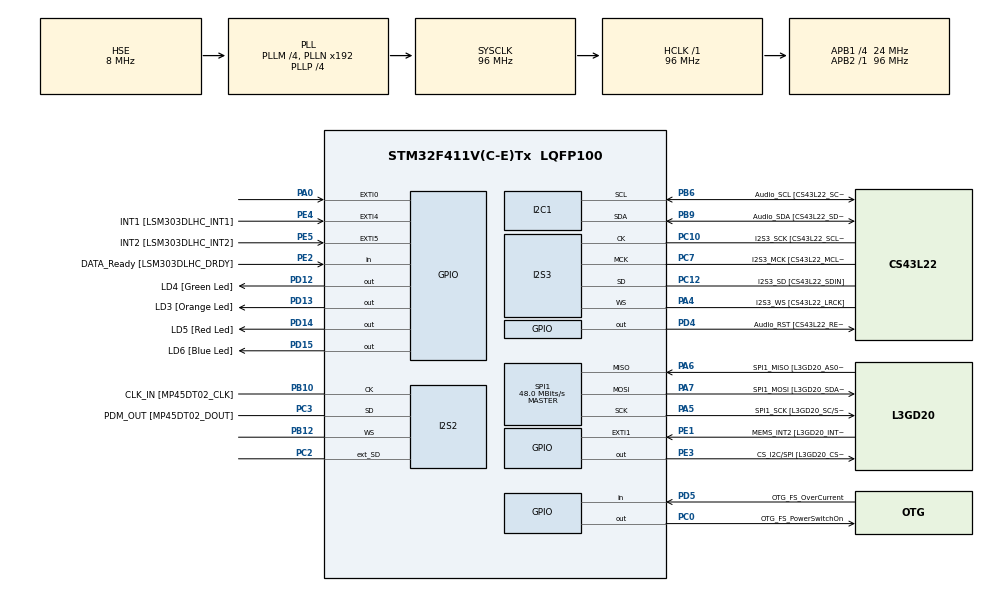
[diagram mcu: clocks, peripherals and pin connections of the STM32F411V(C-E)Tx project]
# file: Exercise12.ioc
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FREERTOS.Mutexes01=CriticalResourceMutex,Dynamic,NULL
FREERTOS.Tasks01=GreenLEDTask,0,128,StartGreenLEDTask,Default,NULL,Dynamic,NULL,NULL;RedLEDTask,2,128,StartRedLEDTask,Default,NULL,Dynamic,NULL,NULL;OrangeLEDTask,1,128,StartOrangeLEDTask,Default,NULL,Dynamic,NULL,NULL
I2S2.AudioFreq=I2S_AUDIOFREQ_96K
I2S2.ErrorAudioFreq=0.15 %
I2S2.FullDuplexMode=I2S_FULLDUPLEXMODE_ENABLE
I2S2.Instance=SPI$Index
I2S2.RealAudioFreq=96.153 KHz
I2S2.VirtualMode=I2S_MODE_MASTER
I2S3.AudioFreq=I2S_AUDIOFREQ_96K
I2S3.ErrorAudioFreq=-6.99 %
I2S3.FullDuplexMode=I2S_FULLDUPLEXMODE_DISABLE
I2S3.Instance=SPI$Index
I2S3.RealAudioFreq=89.285 KHz
I2S3.VirtualMode=I2S_MODE_MASTER
Mcu.Family=STM32F4
Mcu.Name=STM32F411V(C-E)Tx
Mcu.Package=LQFP100
NVIC.PriorityGroup=NVIC_PRIORITYGROUP_4
NVIC.TIM1_UP_TIM10_IRQn=true\:0\:0\:false\:false\:true\:false\:false\:true
NVIC.TimeBase=TIM1_UP_TIM10_IRQn
NVIC.TimeBaseIP=TIM1
PA0-WKUP.GPIO_ModeDefaultEXTI=GPIO_MODE_EVT_RISING
PA0-WKUP.Signal=GPXTI0
PA10.GPIO_Label=OTG_FS_ID
PA10.Signal=USB_OTG_FS_ID
PA11.GPIO_Label=OTG_FS_DM
PA11.Signal=USB_OTG_FS_DM
PA12.GPIO_Label=OTG_FS_DP
PA12.Signal=USB_OTG_FS_DP
PA13.GPIO_Label=SWDIO
PA13.Mode=Serial_Wire
PA13.Signal=SYS_JTMS-SWDIO
PA14.GPIO_Label=SWCLK
PA14.Mode=Serial_Wire
PA14.Signal=SYS_JTCK-SWCLK
PA4.GPIO_Label=I2S3_WS [CS43L22_LRCK]
PA4.GPIO_Mode=GPIO_MODE_AF_PP
PA4.GPIO_PuPd=GPIO_NOPULL
PA4.GPIO_Speed=GPIO_SPEED_FREQ_LOW
PA4.Mode=Half_Duplex_Master
PA4.Signal=I2S3_WS
PA5.GPIO_Label=SPI1_SCK [L3GD20_SC/SPC]
PA5.Mode=Full_Duplex_Master
PA5.Signal=SPI1_SCK
PA6.GPIO_Label=SPI1_MISO [L3GD20_AS0/SDO]
PA6.Mode=Full_Duplex_Master
PA6.Signal=SPI1_MISO
PA7.GPIO_Label=SPI1_MOSI [L3GD20_SDA/SDI/SDO]
PA7.Mode=Full_Duplex_Master
PA7.Signal=SPI1_MOSI
PA9.GPIO_Label=VBUS_FS
PA9.Signal=USB_OTG_FS_VBUS
PB10.GPIO_Label=CLK_IN [MP45DT02_CLK]
PB10.Mode=Full_Duplex_Master
PB10.Signal=I2S2_CK
PB12.Mode=Full_Duplex_Master
PB12.Signal=I2S2_WS
PB3.GPIO_Label=SWO
PB3.Signal=SYS_JTDO-SWO
PB6.GPIO_Label=Audio_SCL [CS43L22_SCL]
PB6.GPIO_Mode=GPIO_MODE_AF_OD
PB6.GPIO_PuPd=GPIO_NOPULL
PB6.GPIO_Speed=GPIO_SPEED_FREQ_LOW
PB6.Mode=I2C
PB6.Signal=I2C1_SCL
PB9.GPIO_Label=Audio_SDA [CS43L22_SDA]
PB9.GPIO_Mode=GPIO_MODE_AF_OD
PB9.GPIO_PuPd=GPIO_NOPULL
PB9.GPIO_Speed=GPIO_SPEED_FREQ_LOW
PB9.Mode=I2C
PB9.Signal=I2C1_SDA
PC0.GPIO_Label=OTG_FS_PowerSwitchOn
PC0.PinState=GPIO_PIN_SET
PC0.Signal=GPIO_Output
PC10.GPIO_Label=I2S3_SCK [CS43L22_SCLK]
PC10.GPIO_Mode=GPIO_MODE_AF_PP
PC10.GPIO_PuPd=GPIO_NOPULL
PC10.GPIO_Speed=GPIO_SPEED_FREQ_LOW
PC10.Mode=Half_Duplex_Master
PC10.Signal=I2S3_CK
PC12.GPIO_Label=I2S3_SD [CS43L22_SDIN]
PC12.GPIO_Mode=GPIO_MODE_AF_PP
PC12.GPIO_PuPd=GPIO_NOPULL
PC12.GPIO_Speed=GPIO_SPEED_FREQ_LOW
PC12.Mode=Half_Duplex_Master
PC12.Signal=I2S3_SD
PC14-OSC32_IN.GPIO_Label=PC14-OSC32_IN
PC14-OSC32_IN.Mode=LSE-External-Oscillator
PC14-OSC32_IN.Signal=RCC_OSC32_IN
PC15-OSC32_OUT.GPIO_Label=PC15-OSC32_OUT
PC15-OSC32_OUT.Mode=LSE-External-Oscillator
PC15-OSC32_OUT.Signal=RCC_OSC32_OUT
PC2.Mode=Full_Duplex_Master
PC2.Signal=I2S2_ext_SD
PC3.GPIO_Label=PDM_OUT [MP45DT02_DOUT]
PC3.Mode=Full_Duplex_Master
PC3.Signal=I2S2_SD
PC7.GPIO_Label=I2S3_MCK [CS43L22_MCLK]
PC7.GPIO_Mode=GPIO_MODE_AF_PP
PC7.GPIO_PuPd=GPIO_NOPULL
PC7.GPIO_Speed=GPIO_SPEED_FREQ_LOW
PC7.Mode=Master_Clock_Activated
PC7.Signal=I2S3_MCK
PD12.GPIO_Label=LD4 [Green Led]
PD12.GPIO_PuPd=GPIO_NOPULL
PD12.GPIO_Speed=GPIO_SPEED_FREQ_LOW
PD12.Signal=GPIO_Output
PD13.GPIO_Label=LD3 [Orange Led]
PD13.GPIO_PuPd=GPIO_NOPULL
PD13.GPIO_Speed=GPIO_SPEED_FREQ_LOW
PD13.Signal=GPIO_Output
PD14.GPIO_Label=LD5 [Red Led]
PD14.GPIO_PuPd=GPIO_NOPULL
PD14.GPIO_Speed=GPIO_SPEED_FREQ_LOW
PD14.Signal=GPIO_Output
PD15.GPIO_Label=LD6 [Blue Led]
PD15.GPIO_PuPd=GPIO_NOPULL
PD15.GPIO_Speed=GPIO_SPEED_FREQ_LOW
PD15.Signal=GPIO_Output
PD4.GPIO_Label=Audio_RST [CS43L22_RESET]
PD4.Signal=GPIO_Output
PD5.GPIO_Label=OTG_FS_OverCurrent
PD5.Signal=GPIO_Input
PE1.GPIO_Label=MEMS_INT2 [L3GD20_INT2]
PE1.GPIO_ModeDefaultEXTI=GPIO_MODE_EVT_RISING
PE1.Signal=GPXTI1
PE2.GPIO_Label=DATA_Ready [LSM303DLHC_DRDY]
PE2.Signal=GPIO_Input
PE3.GPIO_Label=CS_I2C/SPI [L3GD20_CS_I2C/SPI]
PE3.Signal=GPIO_Output
PE4.GPIO_Label=INT1 [LSM303DLHC_INT1]
PE4.GPIO_ModeDefaultEXTI=GPIO_MODE_EVT_RISING
PE4.Signal=GPXTI4
PE5.GPIO_Label=INT2 [LSM303DLHC_INT2]
PE5.GPIO_ModeDefaultEXTI=GPIO_MODE_EVT_RISING
PE5.Signal=GPXTI5
PH0\ -\ OSC_IN.GPIO_Label=PH0-OSC_IN
PH0\ -\ OSC_IN.Mode=HSE-External-Oscillator
PH0\ -\ OSC_IN.Signal=RCC_OSC_IN
PH1\ -\ OSC_OUT.GPIO_Label=PH1-OSC_OUT
PH1\ -\ OSC_OUT.Mode=HSE-External-Oscillator
PH1\ -\ OSC_OUT.Signal=RCC_OSC_OUT
ProjectManager.HeapSize=0x200
ProjectManager.StackSize=0x400
ProjectManager.TargetToolchain=STM32CubeIDE
RCC.48MHZClocksFreq_Value=48000000
RCC.AHBFreq_Value=96000000
RCC.APB1CLKDivider=RCC_HCLK_DIV4
RCC.APB1Freq_Value=24000000
RCC.APB1TimFreq_Value=48000000
RCC.APB2Freq_Value=96000000
RCC.APB2TimFreq_Value=96000000
RCC.CortexFreq_Value=96000000
RCC.HCLKFreq_Value=96000000
RCC.HSE_VALUE=8000000
RCC.HSI_VALUE=16000000
RCC.PLLI2SM=5
RCC.PLLI2SN=200
RCC.PLLM=4
RCC.PLLP=RCC_PLLP_DIV4
RCC.PLLQ=8
RCC.PLLSourceVirtual=RCC_PLLSOURCE_HSE
RCC.SYSCLKFreq_VALUE=96000000
RCC.SYSCLKSource=RCC_SYSCLKSOURCE_PLLCLK
RCC.VCOOutputFreq_Value=384000000
SPI1.BaudRatePrescaler=SPI_BAUDRATEPRESCALER_2
SPI1.CalculateBaudRate=48.0 MBits/s
SPI1.Direction=SPI_DIRECTION_2LINES
SPI1.Mode=SPI_MODE_MASTER
SPI1.VirtualType=VM_MASTER
VP_FREERTOS_VS_CMSIS_V1.Mode=CMSIS_V1
VP_SYS_VS_tim1.Mode=TIM1
board=STM32F411E-DISCO

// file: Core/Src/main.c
/* USER CODE BEGIN Header */
/**
  ******************************************************************************
  * @file           : main.c
  * @brief          : Main program body
  ******************************************************************************
  * @attention
  *
  * <h2><center>&copy; Copyright (c) 2024 STMicroelectronics.
  * All rights reserved.</center></h2>
  *
  * This software component is licensed by ST under Ultimate Liberty license
  * SLA0044, the "License"; You may not use this file except in compliance with
  * the License. You may obtain a copy of the License at:
  *                             www.st.com/SLA0044
  *
  ******************************************************************************
  */
/* USER CODE END Header */

#include "main.h"
#include "cmsis_os.h"

I2C_HandleTypeDef hi2c1;

I2S_HandleTypeDef hi2s2;
I2S_HandleTypeDef hi2s3;

SPI_HandleTypeDef hspi1;

osThreadId GreenLEDTaskHandle;
osThreadId RedLEDTaskHandle;
osThreadId OrangeLEDTaskHandle;
osMutexId CriticalResourceMutexHandle;

void SystemClock_Config(void);
static void MX_GPIO_Init(void);
static void MX_I2C1_Init(void);
static void MX_I2S2_Init(void);
static void MX_I2S3_Init(void);
static void MX_SPI1_Init(void);
void StartGreenLEDTask(void const * argument);
void StartRedLEDTask(void const * argument);
void StartOrangeLEDTask(void const * argument);

int main(void)
{

  /* MCU Configuration--------------------------------------------------------*/

  /* Reset of all peripherals, Initializes the Flash interface and the Systick. */
  HAL_Init();

  /* Configure the system clock */
  SystemClock_Config();

  /* Initialize all configured peripherals */
  MX_GPIO_Init();
  MX_I2C1_Init();
  MX_I2S2_Init();
  MX_I2S3_Init();
  MX_SPI1_Init();

  /* Create the mutex(es) */
  /* definition and creation of CriticalResourceMutex */
  osMutexDef(CriticalResourceMutex);
  CriticalResourceMutexHandle = osMutexCreate(osMutex(CriticalResourceMutex));

  /* Create the thread(s) */
  /* definition and creation of GreenLEDTask */
  osThreadDef(GreenLEDTask, StartGreenLEDTask, osPriorityNormal, 0, 128);
  GreenLEDTaskHandle = osThreadCreate(osThread(GreenLEDTask), NULL);

  /* definition and creation of RedLEDTask */
  osThreadDef(RedLEDTask, StartRedLEDTask, osPriorityHigh, 0, 128);
  RedLEDTaskHandle = osThreadCreate(osThread(RedLEDTask), NULL);

  /* definition and creation of OrangeLEDTask */
  osThreadDef(OrangeLEDTask, StartOrangeLEDTask, osPriorityAboveNormal, 0, 128);
  OrangeLEDTaskHandle = osThreadCreate(osThread(OrangeLEDTask), NULL);

  /* Start scheduler */
  osKernelStart();

  /* We should never get here as control is now taken by the scheduler */

  /* Infinite loop */
  while (1)
  {

  }
}

void SystemClock_Config(void)
{
  RCC_OscInitTypeDef RCC_OscInitStruct = {0};
  RCC_ClkInitTypeDef RCC_ClkInitStruct = {0};
  RCC_PeriphCLKInitTypeDef PeriphClkInitStruct = {0};

  /** Configure the main internal regulator output voltage
  */
  __HAL_RCC_PWR_CLK_ENABLE();
  __HAL_PWR_VOLTAGESCALING_CONFIG(PWR_REGULATOR_VOLTAGE_SCALE1);
  /** Initializes the CPU, AHB and APB busses clocks
  */
  RCC_OscInitStruct.OscillatorType = RCC_OSCILLATORTYPE_HSE;
  RCC_OscInitStruct.HSEState = RCC_HSE_ON;
  RCC_OscInitStruct.PLL.PLLState = RCC_PLL_ON;
  RCC_OscInitStruct.PLL.PLLSource = RCC_PLLSOURCE_HSE;
  RCC_OscInitStruct.PLL.PLLM = 4;
  RCC_OscInitStruct.PLL.PLLN = 192;
  RCC_OscInitStruct.PLL.PLLP = RCC_PLLP_DIV4;
  RCC_OscInitStruct.PLL.PLLQ = 8;
  if (HAL_RCC_OscConfig(&RCC_OscInitStruct) != HAL_OK)
  {
    Error_Handler();
  }
  /** Initializes the CPU, AHB and APB busses clocks
  */
  RCC_ClkInitStruct.ClockType = RCC_CLOCKTYPE_HCLK|RCC_CLOCKTYPE_SYSCLK
                              |RCC_CLOCKTYPE_PCLK1|RCC_CLOCKTYPE_PCLK2;
  RCC_ClkInitStruct.SYSCLKSource = RCC_SYSCLKSOURCE_PLLCLK;
  RCC_ClkInitStruct.AHBCLKDivider = RCC_SYSCLK_DIV1;
  RCC_ClkInitStruct.APB1CLKDivider = RCC_HCLK_DIV4;
  RCC_ClkInitStruct.APB2CLKDivider = RCC_HCLK_DIV1;

  if (HAL_RCC_ClockConfig(&RCC_ClkInitStruct, FLASH_LATENCY_3) != HAL_OK)
  {
    Error_Handler();
  }
  PeriphClkInitStruct.PeriphClockSelection = RCC_PERIPHCLK_I2S;
  PeriphClkInitStruct.PLLI2S.PLLI2SN = 200;
  PeriphClkInitStruct.PLLI2S.PLLI2SM = 5;
  PeriphClkInitStruct.PLLI2S.PLLI2SR = 2;
  if (HAL_RCCEx_PeriphCLKConfig(&PeriphClkInitStruct) != HAL_OK)
  {
    Error_Handler();
  }
}

static void MX_I2C1_Init(void)
{

  hi2c1.Instance = I2C1;
  hi2c1.Init.ClockSpeed = 100000;
  hi2c1.Init.DutyCycle = I2C_DUTYCYCLE_2;
  hi2c1.Init.OwnAddress1 = 0;
  hi2c1.Init.AddressingMode = I2C_ADDRESSINGMODE_7BIT;
  hi2c1.Init.DualAddressMode = I2C_DUALADDRESS_DISABLE;
  hi2c1.Init.OwnAddress2 = 0;
  hi2c1.Init.GeneralCallMode = I2C_GENERALCALL_DISABLE;
  hi2c1.Init.NoStretchMode = I2C_NOSTRETCH_DISABLE;
  if (HAL_I2C_Init(&hi2c1) != HAL_OK)
  {
    Error_Handler();
  }

}

static void MX_I2S2_Init(void)
{

  hi2s2.Instance = SPI2;
  hi2s2.Init.Mode = I2S_MODE_MASTER_TX;
  hi2s2.Init.Standard = I2S_STANDARD_PHILIPS;
  hi2s2.Init.DataFormat = I2S_DATAFORMAT_16B;
  hi2s2.Init.MCLKOutput = I2S_MCLKOUTPUT_DISABLE;
  hi2s2.Init.AudioFreq = I2S_AUDIOFREQ_96K;
  hi2s2.Init.CPOL = I2S_CPOL_LOW;
  hi2s2.Init.ClockSource = I2S_CLOCK_PLL;
  hi2s2.Init.FullDuplexMode = I2S_FULLDUPLEXMODE_ENABLE;
  if (HAL_I2S_Init(&hi2s2) != HAL_OK)
  {
    Error_Handler();
  }

}

static void MX_I2S3_Init(void)
{

  hi2s3.Instance = SPI3;
  hi2s3.Init.Mode = I2S_MODE_MASTER_TX;
  hi2s3.Init.Standard = I2S_STANDARD_PHILIPS;
  hi2s3.Init.DataFormat = I2S_DATAFORMAT_16B;
  hi2s3.Init.MCLKOutput = I2S_MCLKOUTPUT_ENABLE;
  hi2s3.Init.AudioFreq = I2S_AUDIOFREQ_96K;
  hi2s3.Init.CPOL = I2S_CPOL_LOW;
  hi2s3.Init.ClockSource = I2S_CLOCK_PLL;
  hi2s3.Init.FullDuplexMode = I2S_FULLDUPLEXMODE_DISABLE;
  if (HAL_I2S_Init(&hi2s3) != HAL_OK)
  {
    Error_Handler();
  }

}

static void MX_SPI1_Init(void)
{

  /* SPI1 parameter configuration*/
  hspi1.Instance = SPI1;
  hspi1.Init.Mode = SPI_MODE_MASTER;
  hspi1.Init.Direction = SPI_DIRECTION_2LINES;
  hspi1.Init.DataSize = SPI_DATASIZE_8BIT;
  hspi1.Init.CLKPolarity = SPI_POLARITY_LOW;
  hspi1.Init.CLKPhase = SPI_PHASE_1EDGE;
  hspi1.Init.NSS = SPI_NSS_SOFT;
  hspi1.Init.BaudRatePrescaler = SPI_BAUDRATEPRESCALER_2;
  hspi1.Init.FirstBit = SPI_FIRSTBIT_MSB;
  hspi1.Init.TIMode = SPI_TIMODE_DISABLE;
  hspi1.Init.CRCCalculation = SPI_CRCCALCULATION_DISABLE;
  hspi1.Init.CRCPolynomial = 10;
  if (HAL_SPI_Init(&hspi1) != HAL_OK)
  {
    Error_Handler();
  }

}

static void MX_GPIO_Init(void)
{
  GPIO_InitTypeDef GPIO_InitStruct = {0};

  /* GPIO Ports Clock Enable */
  __HAL_RCC_GPIOE_CLK_ENABLE();
  __HAL_RCC_GPIOC_CLK_ENABLE();
  __HAL_RCC_GPIOH_CLK_ENABLE();
  __HAL_RCC_GPIOA_CLK_ENABLE();
  __HAL_RCC_GPIOB_CLK_ENABLE();
  __HAL_RCC_GPIOD_CLK_ENABLE();

  /*Configure GPIO pin Output Level */
  HAL_GPIO_WritePin(CS_I2C_SPI_GPIO_Port, CS_I2C_SPI_Pin, GPIO_PIN_RESET);

  /*Configure GPIO pin Output Level */
  HAL_GPIO_WritePin(OTG_FS_PowerSwitchOn_GPIO_Port, OTG_FS_PowerSwitchOn_Pin, GPIO_PIN_SET);

  /*Configure GPIO pin Output Level */
  HAL_GPIO_WritePin(GPIOD, LD4_Pin|LD3_Pin|LD5_Pin|LD6_Pin
                          |Audio_RST_Pin, GPIO_PIN_RESET);

  /*Configure GPIO pin : DATA_Ready_Pin */
  GPIO_InitStruct.Pin = DATA_Ready_Pin;
  GPIO_InitStruct.Mode = GPIO_MODE_INPUT;
  GPIO_InitStruct.Pull = GPIO_NOPULL;
  HAL_GPIO_Init(DATA_Ready_GPIO_Port, &GPIO_InitStruct);

  /*Configure GPIO pin : CS_I2C_SPI_Pin */
  GPIO_InitStruct.Pin = CS_I2C_SPI_Pin;
  GPIO_InitStruct.Mode = GPIO_MODE_OUTPUT_PP;
  GPIO_InitStruct.Pull = GPIO_NOPULL;
  GPIO_InitStruct.Speed = GPIO_SPEED_FREQ_LOW;
  HAL_GPIO_Init(CS_I2C_SPI_GPIO_Port, &GPIO_InitStruct);

  /*Configure GPIO pins : INT1_Pin INT2_Pin MEMS_INT2_Pin */
  GPIO_InitStruct.Pin = INT1_Pin|INT2_Pin|MEMS_INT2_Pin;
  GPIO_InitStruct.Mode = GPIO_MODE_EVT_RISING;
  GPIO_InitStruct.Pull = GPIO_NOPULL;
  HAL_GPIO_Init(GPIOE, &GPIO_InitStruct);

  /*Configure GPIO pin : OTG_FS_PowerSwitchOn_Pin */
  GPIO_InitStruct.Pin = OTG_FS_PowerSwitchOn_Pin;
  GPIO_InitStruct.Mode = GPIO_MODE_OUTPUT_PP;
  GPIO_InitStruct.Pull = GPIO_NOPULL;
  GPIO_InitStruct.Speed = GPIO_SPEED_FREQ_LOW;
  HAL_GPIO_Init(OTG_FS_PowerSwitchOn_GPIO_Port, &GPIO_InitStruct);

  /*Configure GPIO pin : PA0 */
  GPIO_InitStruct.Pin = GPIO_PIN_0;
  GPIO_InitStruct.Mode = GPIO_MODE_EVT_RISING;
  GPIO_InitStruct.Pull = GPIO_NOPULL;
  HAL_GPIO_Init(GPIOA, &GPIO_InitStruct);

  /*Configure GPIO pins : LD4_Pin LD3_Pin LD5_Pin LD6_Pin
                           Audio_RST_Pin */
  GPIO_InitStruct.Pin = LD4_Pin|LD3_Pin|LD5_Pin|LD6_Pin
                          |Audio_RST_Pin;
  GPIO_InitStruct.Mode = GPIO_MODE_OUTPUT_PP;
  GPIO_InitStruct.Pull = GPIO_NOPULL;
  GPIO_InitStruct.Speed = GPIO_SPEED_FREQ_LOW;
  HAL_GPIO_Init(GPIOD, &GPIO_InitStruct);

  /*Configure GPIO pin : VBUS_FS_Pin */
  GPIO_InitStruct.Pin = VBUS_FS_Pin;
  GPIO_InitStruct.Mode = GPIO_MODE_INPUT;
  GPIO_InitStruct.Pull = GPIO_NOPULL;
  HAL_GPIO_Init(VBUS_FS_GPIO_Port, &GPIO_InitStruct);

  /*Configure GPIO pins : OTG_FS_ID_Pin OTG_FS_DM_Pin OTG_FS_DP_Pin */
  GPIO_InitStruct.Pin = OTG_FS_ID_Pin|OTG_FS_DM_Pin|OTG_FS_DP_Pin;
  GPIO_InitStruct.Mode = GPIO_MODE_AF_PP;
  GPIO_InitStruct.Pull = GPIO_NOPULL;
  GPIO_InitStruct.Speed = GPIO_SPEED_FREQ_VERY_HIGH;
  GPIO_InitStruct.Alternate = GPIO_AF10_OTG_FS;
  HAL_GPIO_Init(GPIOA, &GPIO_InitStruct);

  /*Configure GPIO pin : OTG_FS_OverCurrent_Pin */
  GPIO_InitStruct.Pin = OTG_FS_OverCurrent_Pin;
  GPIO_InitStruct.Mode = GPIO_MODE_INPUT;
  GPIO_InitStruct.Pull = GPIO_NOPULL;
  HAL_GPIO_Init(OTG_FS_OverCurrent_GPIO_Port, &GPIO_InitStruct);

}

/* USER CODE BEGIN 4 */
void AccessFunction()
{
	osMutexWait(CriticalResourceMutexHandle, osWaitForever);
	for(int i = 0; i < 20; i++)
	{
		HAL_GPIO_TogglePin(GPIOD, GPIO_PIN_15);
		HAL_Delay(100);
	}
	osMutexRelease(CriticalResourceMutexHandle);
	return;
}
/* USER CODE END 4 */

void StartGreenLEDTask(void const * argument)
{
  /* USER CODE BEGIN 5 */
  /* Infinite loop */
  for(;;)
  {
    AccessFunction();
    for(int i = 0; i < 40; i++)
    {
    	HAL_GPIO_TogglePin(GPIOD, GPIO_PIN_12);
    	HAL_Delay(100);
    }
    vTaskSuspend(NULL);
  }
  /* USER CODE END 5 */
}

void StartRedLEDTask(void const * argument)
{
  /* USER CODE BEGIN StartRedLEDTask */
  /* Infinite loop */
  for(;;)
  {
    osDelay(1000);
    AccessFunction();
    for(int i = 0; i < 40; i++)
    {
    	HAL_GPIO_TogglePin(GPIOD, GPIO_PIN_14);
    	HAL_Delay(100);
    }
    vTaskSuspend(NULL);
  }
  /* USER CODE END StartRedLEDTask */
}

void StartOrangeLEDTask(void const * argument)
{
  /* USER CODE BEGIN StartOrangeLEDTask */
  /* Infinite loop */
  for(;;)
  {
    osDelay(1000);
    for(int i = 0; i < 40; i++)
    {
    	HAL_GPIO_TogglePin(GPIOD, GPIO_PIN_13);
    	HAL_Delay(100);
    }
    vTaskSuspend(NULL);
  }
  /* USER CODE END StartOrangeLEDTask */
}

void HAL_TIM_PeriodElapsedCallback(TIM_HandleTypeDef *htim)
{
  if (htim->Instance == TIM1) {
    HAL_IncTick();
  }
}

void Error_Handler(void)
{
}

/************************ (C) COPYRIGHT STMicroelectronics *****END OF FILE****/
